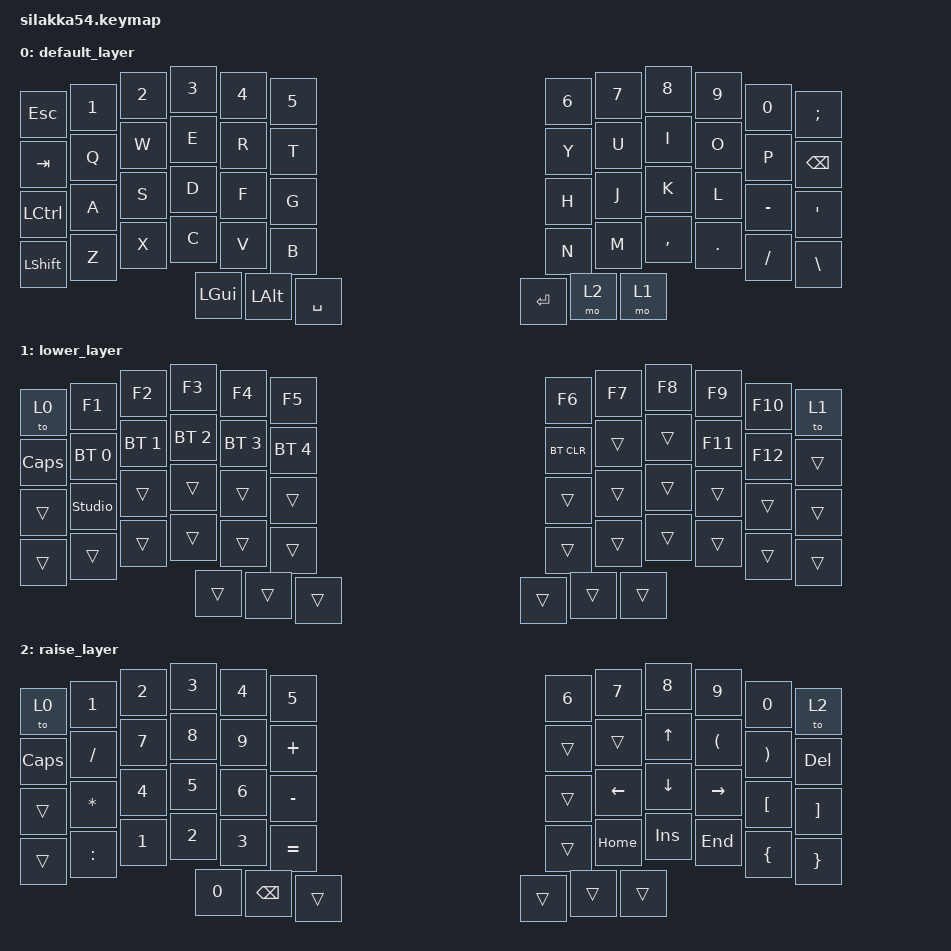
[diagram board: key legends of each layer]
/*
 * Copyright (c) 2020 The ZMK Contributors
 *
 * SPDX-License-Identifier: MIT
 */

#include <behaviors.dtsi>
#include <dt-bindings/zmk/keys.h>
#include <dt-bindings/zmk/bt.h>
#include <dt-bindings/zmk/ext_power.h>


/ {
    macros {
        switch_lang: switch_lang {
            compatible = "zmk,behavior-macro";
            #binding-cells = <0>;
            bindings
                = <&macro_press &kp LSHIFT>
                , <&macro_tap &kp CAPS>
                , <&macro_release &kp LSHIFT>
                ;
        };
    };
};

/ {
    keymap {
        compatible = "zmk,keymap";

        default_layer { //layer 0
            bindings = <
&kp ESC   &kp N1 &kp N2 &kp N3      &kp N4       &kp N5                     &kp N6     &kp N7   &kp N8    &kp N9  &kp N0     &kp SEMI
&kp TAB   &kp Q  &kp W  &kp E       &kp R        &kp T                      &kp Y      &kp U    &kp I     &kp O   &kp P      &kp BSPC
&kp LCTRL &kp A  &kp S  &kp D       &kp F        &kp G                      &kp H      &kp J    &kp K     &kp L   &kp MINUS  &kp SQT
&kp LSHFT &kp Z  &kp X  &kp C       &kp V        &kp B                      &kp N      &kp M    &kp COMMA &kp DOT &kp FSLH   &kp BSLH
                        &kp LGUI    &kp LALT     &kp SPACE                  &kp ENTER  &mo 2    &mo 1
            >;
        };

        lower_layer { //layer 1
            bindings = <
&to 0      &kp F1         &kp F2       &kp F3         &kp F4       &kp F5                       &kp F6      &kp F7    &kp F8    &kp F9   &kp F10   &to 1
&kp CAPS   &bt BT_SEL 0   &bt BT_SEL 1 &bt BT_SEL 2   &bt BT_SEL 3 &bt BT_SEL 4                 &bt BT_CLR  &trans    &trans    &kp F11  &kp F12   &trans
&trans     &studio_unlock &trans       &trans         &trans       &trans                       &trans      &trans    &trans    &trans   &trans    &trans
&trans     &trans         &trans       &trans         &trans       &trans                       &trans      &trans    &trans    &trans   &trans    &trans
                                       &trans         &trans       &trans                       &trans      &trans    &trans
            >;
        };

        raise_layer { //layer 2
            bindings = <
&to 0       &kp N1      &kp N2     &kp N3          &kp N4      &kp N5                   &kp N6     &kp N7         &kp N8         &kp N9           &kp N0     &to 2
&kp CAPS    &kp FSLH    &kp N7     &kp N8          &kp N9      &kp PLUS                 &trans     &trans         &kp UP_ARROW   &kp LPAR         &kp RPAR   &kp DEL
&trans      &kp ASTRK   &kp N4     &kp N5          &kp N6      &kp MINUS                &trans     &kp LEFT_ARROW &kp DOWN_ARROW &kp RIGHT_ARROW  &kp LBKT   &kp RBKT
&trans      &kp COLON   &kp N1     &kp N2          &kp N3      &kp EQUAL                &trans     &kp HOME       &kp INS        &kp END          &kp LBRC   &kp RBRC             
                                   &kp N0          &kp BSPC    &trans                   &trans     &trans         &trans
            >;
        };


    };
};

/ {
    combos {
        compatible = "zmk,combos";
        combo_esc {
            timeout-ms = <50>;
            key-positions = <28 31>;
            bindings = <&switch_lang>;
        };
    };
};
